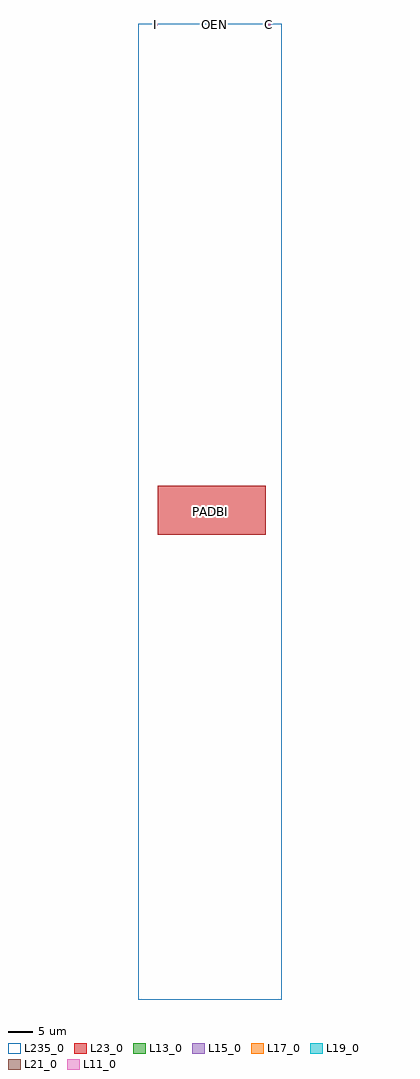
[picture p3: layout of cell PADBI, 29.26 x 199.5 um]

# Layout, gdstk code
import gdstk
lib = gdstk.Library(unit=1e-6, precision=5e-10)
def R(c, l, rs):  # rectangles x0, y0, x1, y1
    for r in rs: c.add(gdstk.rectangle(r[:2], r[2:], *l))
L11_0 = (11, 0)
L13_0 = (13, 0)
L15_0 = (15, 0)
L17_0 = (17, 0)
L19_0 = (19, 0)
L21_0 = (21, 0)
L23_0 = (23, 0)
L235_0 = (235, 0)

padbi = lib.new_cell('PADBI')
R(padbi, L11_0, [(3,199,4,199.5), (26,199,27,199.5), (15,199.09,16,199.5)])
R(padbi, L13_0, [(3,199,4,199.5), (15,199,16,199.5), (26,199,27,199.5)])
R(padbi, L15_0, [(3,199,4,199.5), (15,199,16,199.5), (26,199,27,199.5)])
R(padbi, L17_0, [(3,199,4,199.5), (15,199,16,199.5), (26,199,27,199.5)])
R(padbi, L19_0, [(3,199,4,199.5), (15,199,16,199.5), (26,199,27,199.5)])
R(padbi, L21_0, [(3,199,4,199.5), (15,199,16,199.5), (26,199,27,199.5)])
R(padbi, L23_0, [(4,95,26,105)])
R(padbi, L235_0, [(0,0,29.26,199.5)])
padbi.add(gdstk.Label('PADBI', (14.63,99.75), layer=108, texttype=3))
padbi.add(gdstk.Label('PAD', (15,100), layer=23, texttype=0))
padbi.add(gdstk.Label('I', (3.5,199.25), layer=11, texttype=0))
padbi.add(gdstk.Label('OEN', (15.5,199.295), layer=11, texttype=0))
padbi.add(gdstk.Label('C', (26.5,199.25), layer=11, texttype=0))
padbi.add(gdstk.Label('I', (3.5,199.25), layer=13, texttype=0))
padbi.add(gdstk.Label('OEN', (15.5,199.25), layer=13, texttype=0))
padbi.add(gdstk.Label('C', (26.5,199.25), layer=13, texttype=0))
padbi.add(gdstk.Label('I', (3.5,199.25), layer=15, texttype=0))
padbi.add(gdstk.Label('OEN', (15.5,199.25), layer=15, texttype=0))
padbi.add(gdstk.Label('C', (26.5,199.25), layer=15, texttype=0))
padbi.add(gdstk.Label('I', (3.5,199.25), layer=17, texttype=0))
padbi.add(gdstk.Label('OEN', (15.5,199.25), layer=17, texttype=0))
padbi.add(gdstk.Label('C', (26.5,199.25), layer=17, texttype=0))
padbi.add(gdstk.Label('I', (3.5,199.25), layer=19, texttype=0))
padbi.add(gdstk.Label('OEN', (15.5,199.25), layer=19, texttype=0))
padbi.add(gdstk.Label('C', (26.5,199.25), layer=19, texttype=0))
padbi.add(gdstk.Label('I', (3.5,199.25), layer=21, texttype=0))
padbi.add(gdstk.Label('OEN', (15.5,199.25), layer=21, texttype=0))
padbi.add(gdstk.Label('C', (26.5,199.25), layer=21, texttype=0))

lib.write_gds('PADBI.gds')
